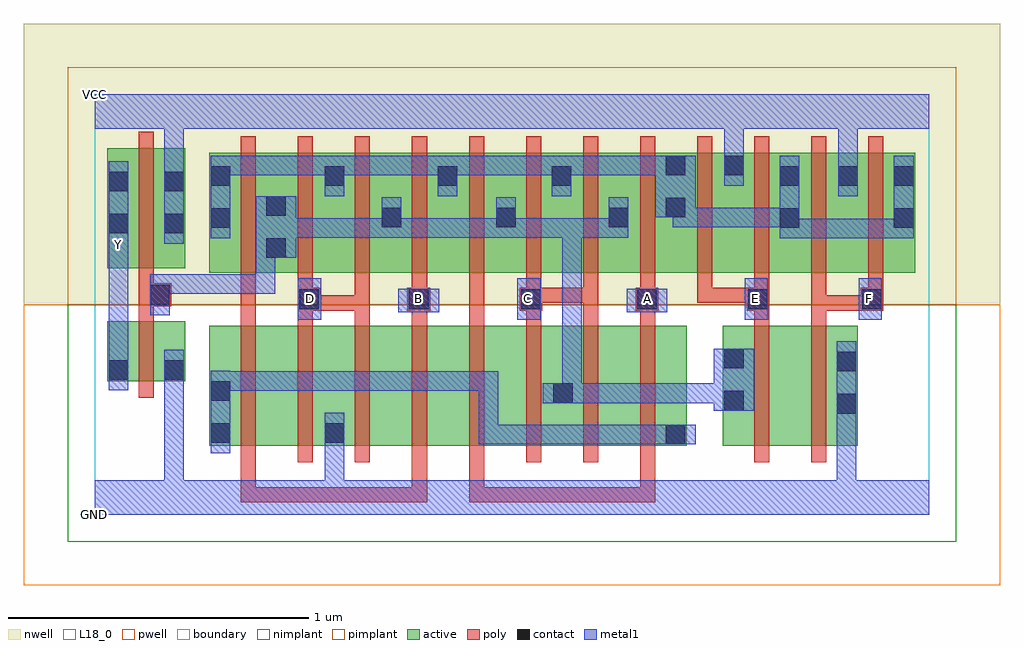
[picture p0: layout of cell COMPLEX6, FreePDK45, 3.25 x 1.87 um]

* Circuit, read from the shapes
.subckt COMPLEX6 A B C D E F GND VCC Y
M1 GND n1 Y VSUBS nfet w=0.2u l=0.05u
M2 n2 B n3 VSUBS nfet w=0.4u l=0.05u
M3 GND D n2 VSUBS nfet w=0.4u l=0.05u
M4 n4 D GND VSUBS nfet w=0.4u l=0.05u
M5 n5 B n4 VSUBS nfet w=0.4u l=0.05u
M6 n6 A n5 VSUBS nfet w=0.4u l=0.05u
M7 n1 C n6 VSUBS nfet w=0.4u l=0.05u
M8 n7 C n1 VSUBS nfet w=0.4u l=0.05u
M9 n3 A n7 VSUBS nfet w=0.4u l=0.05u
M10 n8 E n1 VSUBS nfet w=0.4u l=0.05u
M11 GND F n8 VSUBS nfet w=0.4u l=0.05u
M12 VCC n1 Y n9 pfet w=0.4u l=0.05u
M13 n1 B n10 n9 pfet w=0.4u l=0.05u m=2
M14 n10 D n1 n9 pfet w=0.4u l=0.05u m=2
M15 n1 A n10 n9 pfet w=0.4u l=0.05u m=2
M16 n10 C n1 n9 pfet w=0.4u l=0.05u m=2
M17 VCC E n10 n9 pfet w=0.4u l=0.05u m=2
M18 VCC F n10 n9 pfet w=0.4u l=0.05u m=2
.ends

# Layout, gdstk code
import gdstk
lib = gdstk.Library(unit=1e-6, precision=1e-09)
def R(c, l, rs):  # rectangles x0, y0, x1, y1
    for r in rs: c.add(gdstk.rectangle(r[:2], r[2:], *l))
def A(c, l, x, y, w, h, nx, ny, dx, dy):  # array of equal rectangles
    R(c, l, [(x+i*dx, y+j*dy, x+i*dx+w, y+j*dy+h) for i in range(nx) for j in range(ny)])
active = (1, 0)
pwell = (2, 0)
nwell = (3, 0)
nimplant = (4, 0)
pimplant = (5, 0)
poly = (9, 0)
contact = (10, 0)
metal1 = (11, 0)
L18_0 = (18, 0)
boundary = (235, 0)

complex6 = lib.new_cell('COMPLEX6')
R(complex6, active, [(0.382,0.23,0.607,0.63), (0.382,0.23,0.457,0.63), (0.607,0.23,0.837,0.63), (0.762,0.23,0.987,0.63), (0.762,0.23,0.837,0.617), (0.987,0.23,1.177,0.63), (1.177,0.23,1.367,0.63), (1.367,0.23,1.597,0.63), (1.522,0.23,1.747,0.63), (1.747,0.23,1.972,0.63), (1.897,0.23,1.972,0.63), (2.092,0.23,2.317,0.63), (2.092,0.23,2.167,0.63), (2.317,0.23,2.542,0.63), (1.522,0.245,1.597,0.617), (2.467,0.245,2.542,0.63), (0.042,0.445,0.117,0.645), (0.042,0.445,0.302,0.645), (0.227,0.445,0.302,0.645), (0.382,0.805,0.457,1.192), (0.382,0.805,0.642,1.205), (0.567,0.805,0.837,1.205), (0.567,0.805,0.642,1.07), (0.762,0.805,1.027,1.205), (0.952,0.805,1.212,1.205), (0.952,0.805,1.027,1.07), (1.137,0.805,1.407,1.205), (1.332,0.805,1.592,1.205), (1.332,0.805,1.407,1.07), (1.517,0.805,1.782,1.205), (1.707,0.805,1.972,1.205), (1.707,0.805,1.782,1.07), (1.897,0.805,2.167,1.205), (1.897,0.805,1.972,1.2), (2.092,0.805,2.352,1.205), (2.277,0.805,2.352,1.192), (2.277,0.805,2.547,1.205), (2.472,0.805,2.547,1.205), (2.472,0.805,2.732,1.205), (2.657,0.805,2.732,1.192), (0.042,0.82,0.302,1.22), (0.042,0.82,0.117,1.155), (0.227,0.82,0.302,1.22), (1.137,0.847,1.212,1.192), (0.762,0.907,0.837,1.192), (1.517,0.907,1.592,1.2), (2.092,0.907,2.167,1.205)])
R(complex6, pwell, [(-0.235,-0.235,3.015,0.7)])
R(complex6, nwell, [(-0.235,0.7,3.015,1.635)])
R(complex6, nimplant, [(-0.09,-0.09,2.87,0.7)])
R(complex6, pimplant, [(-0.09,0.7,2.87,1.49)])
A(complex6, poly, 0.487, 0.175, 0.05, 0.51, 8, 1, 0.19, 0)
A(complex6, poly, 0.677, 0.635, 0.05, 0.095, 3, 1, 0.19, 0)
A(complex6, poly, 1.437, 0.635, 0.05, 0.095, 3, 1, 0.38, 0)
A(complex6, poly, 1.057, 0.705, 0.05, 0.095, 7, 1, 0.19, 0)
A(complex6, poly, 0.487, 0.75, 0.05, 0.51, 12, 1, 0.19, 0)
R(complex6, poly, [(0.487,0.042,0.537,0.092), (0.487,0.042,0.537,0.092), (0.487,0.042,0.537,0.092), (0.487,0.042,0.537,0.225), (0.487,0.042,0.752,0.092), (0.702,0.042,0.752,0.092), (0.702,0.042,0.752,0.092), (0.702,0.042,0.752,0.092), (0.702,0.042,0.885,0.092), (0.835,0.042,0.885,0.092), (0.835,0.042,0.885,0.092), (0.835,0.042,0.885,0.092), (0.835,0.042,1.107,0.092), (1.057,0.042,1.107,0.092), (1.057,0.042,1.107,0.225), (1.247,0.042,1.297,0.092), (1.247,0.042,1.297,0.092), (1.247,0.042,1.297,0.092), (1.247,0.042,1.297,0.225), (1.247,0.042,1.545,0.092), (1.495,0.042,1.545,0.092), (1.495,0.042,1.545,0.092), (1.495,0.042,1.545,0.092), (1.495,0.042,1.72,0.092), (1.67,0.042,1.72,0.092), (1.67,0.042,1.867,0.092), (1.817,0.042,1.867,0.092), (1.817,0.042,1.867,0.092), (1.817,0.042,1.867,0.092), (1.817,0.042,1.867,0.225), (2.197,0.175,2.247,0.685), (2.387,0.175,2.437,0.685), (0.147,0.39,0.197,0.7), (0.487,0.635,0.537,0.755), (1.247,0.635,1.297,0.755), (1.627,0.635,1.677,0.755), (2.387,0.635,2.437,0.73), (0.147,0.65,0.197,0.745), (0.677,0.68,0.752,0.755), (0.702,0.68,0.752,0.73), (0.702,0.68,0.752,0.73), (0.702,0.68,0.917,0.73), (0.867,0.68,0.917,0.73), (0.867,0.68,0.917,0.8), (1.042,0.68,1.117,0.755), (1.415,0.68,1.49,0.755), (1.802,0.68,1.877,0.755), (2.172,0.68,2.247,0.755), (2.387,0.68,2.437,0.73), (2.387,0.68,2.602,0.73), (2.387,0.68,2.437,0.8), (2.552,0.68,2.602,0.73), (2.552,0.68,2.602,0.73), (2.552,0.68,2.627,0.755), (0.147,0.695,0.255,0.77), (0.487,0.705,0.537,0.8), (0.487,0.705,0.537,0.755), (0.677,0.705,0.727,0.8), (1.247,0.705,1.297,0.755), (1.44,0.705,1.49,0.755), (1.44,0.705,1.49,0.755), (1.44,0.705,1.677,0.755), (1.627,0.705,1.677,0.755), (2.007,0.705,2.057,0.755), (2.007,0.705,2.222,0.755), (2.172,0.705,2.222,0.755), (2.172,0.705,2.222,0.755), (2.577,0.705,2.627,0.8), (0.147,0.72,0.197,0.815), (0.147,0.765,0.197,1.275)])
R(complex6, contact, [(1.902,0.235,1.967,0.3), (0.387,0.24,0.452,0.305), (0.767,0.24,0.832,0.305), (2.472,0.337,2.537,0.402), (2.097,0.347,2.162,0.412), (1.527,0.372,1.592,0.437), (0.387,0.38,0.452,0.445), (0.047,0.45,0.112,0.515), (0.232,0.45,0.297,0.515), (2.472,0.477,2.537,0.542), (2.097,0.487,2.162,0.552), (0.682,0.685,0.747,0.75), (1.047,0.685,1.112,0.75), (1.42,0.685,1.485,0.75), (1.807,0.685,1.872,0.75), (2.177,0.685,2.242,0.75), (2.557,0.685,2.622,0.75), (0.185,0.7,0.25,0.765), (0.572,0.855,0.637,0.92), (0.047,0.937,0.112,1.002), (0.232,0.937,0.297,1.002), (0.387,0.955,0.452,1.02), (2.282,0.955,2.347,1.02), (2.662,0.955,2.727,1.02), (0.957,0.957,1.022,1.022), (1.337,0.957,1.402,1.022), (1.712,0.957,1.777,1.022), (1.902,0.99,1.967,1.055), (0.572,0.995,0.637,1.06), (0.047,1.077,0.112,1.142), (0.232,1.077,0.297,1.142), (0.387,1.095,0.452,1.16), (0.767,1.095,0.832,1.16), (1.142,1.095,1.207,1.16), (1.522,1.095,1.587,1.16), (2.282,1.095,2.347,1.16), (2.477,1.095,2.542,1.16), (2.662,1.095,2.727,1.16), (1.902,1.13,1.967,1.195), (2.097,1.13,2.162,1.195)])
R(complex6, metal1, [(0,0,2.78,0.115), (0.232,0.05,0.297,0.115), (0.232,0.05,0.297,0.115), (0.232,0.05,0.297,0.115), (0.232,0.05,0.297,0.115), (0.232,0.05,0.297,0.115), (0.232,0.05,0.297,0.115), (0.232,0.05,0.297,0.48), (0.767,0.05,0.832,0.27), (2.472,0.05,2.537,0.367), (0.387,0.205,0.452,0.48), (0.767,0.205,0.832,0.27), (0.767,0.205,0.832,0.27), (0.767,0.205,0.832,0.34), (1.28,0.235,1.345,0.3), (1.28,0.235,1.345,0.3), (1.28,0.235,1.345,0.3), (1.28,0.235,1.64,0.3), (1.28,0.235,1.345,0.477), (1.575,0.235,1.64,0.3), (1.575,0.235,1.64,0.3), (1.575,0.235,1.64,0.3), (1.575,0.235,1.79,0.3), (1.725,0.235,1.79,0.3), (1.725,0.235,1.79,0.3), (1.725,0.235,1.79,0.3), (1.725,0.235,1.932,0.3), (1.867,0.235,2.002,0.3), (2.472,0.302,2.537,0.577), (2.472,0.302,2.537,0.367), (2.472,0.302,2.537,0.367), (2.062,0.347,2.197,0.552), (1.492,0.372,1.627,0.437), (1.557,0.372,1.622,0.987), (1.562,0.372,1.627,0.437), (1.562,0.372,1.627,0.437), (1.562,0.372,1.795,0.437), (1.73,0.372,1.795,0.437), (1.73,0.372,1.795,0.437), (1.73,0.372,1.795,0.437), (1.73,0.372,1.99,0.437), (1.925,0.372,1.99,0.437), (1.925,0.372,1.99,0.437), (1.925,0.372,1.99,0.437), (1.925,0.372,2.127,0.437), (0.387,0.412,0.452,0.477), (0.387,0.412,0.452,0.477), (0.387,0.412,0.672,0.477), (0.607,0.412,0.672,0.477), (0.607,0.412,0.672,0.477), (0.607,0.412,0.672,0.477), (0.607,0.412,0.81,0.477), (0.745,0.412,0.81,0.477), (0.745,0.412,0.81,0.477), (0.745,0.412,0.81,0.477), (0.745,0.412,1.07,0.477), (1.005,0.412,1.07,0.477), (1.005,0.412,1.07,0.477), (1.005,0.412,1.07,0.477), (1.005,0.412,1.207,0.477), (1.142,0.412,1.207,0.477), (1.142,0.412,1.207,0.477), (1.142,0.412,1.207,0.477), (1.142,0.412,1.345,0.477), (1.28,0.412,1.345,0.477), (0.047,0.415,0.112,0.55), (0.232,0.415,0.297,0.55), (0.047,0.485,0.112,0.897), (0.677,0.65,0.755,0.787), (1.407,0.65,1.485,0.787), (2.165,0.65,2.242,0.787), (2.545,0.65,2.622,0.787), (0.185,0.665,0.25,0.8), (1.012,0.675,1.147,0.752), (1.772,0.675,1.907,0.752), (0.185,0.735,0.25,0.8), (0.185,0.735,0.25,0.8), (0.185,0.735,0.465,0.8), (0.4,0.735,0.465,0.8), (0.4,0.735,0.465,0.8), (0.4,0.735,0.465,0.8), (0.4,0.735,0.602,0.8), (0.537,0.735,0.602,0.8), (0.537,0.735,0.602,0.92), (0.047,0.832,0.112,0.967), (0.537,0.855,0.672,1.06), (0.047,0.902,0.112,1.177), (0.047,0.902,0.112,0.967), (0.232,0.902,0.297,1.177), (0.387,0.92,0.452,1.195), (2.282,0.92,2.347,1.195), (2.282,0.92,2.347,0.985), (2.282,0.92,2.347,0.985), (2.282,0.92,2.485,0.985), (2.42,0.92,2.727,0.985), (2.42,0.92,2.485,0.985), (2.42,0.92,2.485,0.985), (2.42,0.92,2.485,0.985), (2.662,0.92,2.727,1.195), (0.607,0.922,0.672,0.987), (0.607,0.922,0.672,0.987), (0.607,0.922,0.885,0.987), (0.82,0.922,0.885,0.987), (0.82,0.922,0.885,0.987), (0.82,0.922,0.885,0.987), (0.82,0.922,1.022,0.987), (0.957,0.922,1.022,0.987), (0.957,0.922,1.022,0.987), (0.957,0.922,1.022,1.057), (0.957,0.922,1.207,0.987), (1.142,0.922,1.207,0.987), (1.142,0.922,1.207,0.987), (1.142,0.922,1.207,0.987), (1.142,0.922,1.402,0.987), (1.337,0.922,1.402,0.987), (1.337,0.922,1.402,0.987), (1.337,0.922,1.402,1.057), (1.337,0.922,1.622,0.987), (1.557,0.922,1.622,0.987), (1.557,0.922,1.622,0.987), (1.557,0.922,1.622,0.987), (1.557,0.922,1.622,0.987), (1.557,0.922,1.622,0.987), (1.557,0.922,1.777,0.987), (1.712,0.922,1.777,1.057), (1.925,0.957,1.99,1.022), (1.925,0.957,1.99,1.022), (1.925,0.957,1.99,1.022), (1.925,0.957,2.21,1.022), (1.925,0.957,1.99,1.055), (2.145,0.957,2.21,1.022), (2.145,0.957,2.21,1.022), (2.145,0.957,2.21,1.022), (2.145,0.957,2.347,1.022), (1.867,0.99,2.002,1.195), (0.767,1.06,0.832,1.195), (1.142,1.06,1.207,1.195), (1.522,1.06,1.587,1.195), (2.477,1.06,2.542,1.195), (2.097,1.095,2.162,1.23), (0.232,1.112,0.297,1.35), (0.387,1.13,0.452,1.195), (0.387,1.13,0.452,1.195), (0.387,1.13,0.672,1.195), (0.607,1.13,0.672,1.195), (0.607,1.13,0.672,1.195), (0.607,1.13,0.672,1.195), (0.607,1.13,0.832,1.195), (0.767,1.13,0.832,1.195), (0.767,1.13,0.832,1.195), (0.767,1.13,1.07,1.195), (1.005,1.13,1.07,1.195), (1.005,1.13,1.07,1.195), (1.005,1.13,1.07,1.195), (1.005,1.13,1.207,1.195), (1.142,1.13,1.207,1.195), (1.142,1.13,1.207,1.195), (1.142,1.13,1.42,1.195), (1.355,1.13,1.42,1.195), (1.355,1.13,1.42,1.195), (1.355,1.13,1.42,1.195), (1.355,1.13,1.587,1.195), (1.522,1.13,1.652,1.195), (1.587,1.13,1.652,1.195), (1.587,1.13,1.777,1.195), (1.712,1.13,1.777,1.195), (1.712,1.13,1.852,1.195), (1.787,1.13,1.852,1.195), (1.787,1.13,1.932,1.195), (2.477,1.13,2.542,1.35), (2.097,1.165,2.162,1.35), (0,1.285,2.78,1.4)])
A(complex6, L18_0, 0.687, 0.687, 0.065, 0.065, 3, 1, 0.36, 0)
R(complex6, L18_0, [(0,0,2.78,0.115), (0.232,0.05,0.297,0.115), (0.232,0.05,0.297,0.115), (0.232,0.05,0.297,0.115), (0.232,0.05,0.297,0.115), (0.232,0.05,0.297,0.115), (0.232,0.05,0.297,0.115), (0.232,0.05,0.297,0.48), (0.767,0.05,0.832,0.27), (2.472,0.05,2.537,0.367), (0.767,0.205,0.832,0.34), (0.767,0.205,0.832,0.27), (0.767,0.205,0.832,0.27), (2.472,0.302,2.537,0.577), (2.472,0.302,2.537,0.367), (2.472,0.302,2.537,0.367), (0.047,0.415,0.112,0.55), (0.232,0.415,0.297,0.55), (0.047,0.485,0.112,0.897), (0.677,0.65,0.755,0.787), (1.407,0.65,1.485,0.787), (2.165,0.65,2.242,0.787), (2.545,0.65,2.622,0.787), (1.012,0.675,1.147,0.752), (1.772,0.675,1.907,0.752), (1.807,0.687,1.872,0.752), (2.167,0.687,2.232,0.752), (2.547,0.687,2.612,0.752), (0.047,0.832,0.112,0.967), (0.047,0.867,0.112,0.932), (0.047,0.902,0.112,1.177), (0.047,0.902,0.112,0.967), (0.232,0.902,0.297,1.177), (2.477,1.06,2.542,1.195), (2.097,1.095,2.162,1.23), (0.232,1.112,0.297,1.35), (2.477,1.13,2.542,1.35), (2.097,1.165,2.162,1.35), (0,1.285,2.78,1.4)])
R(complex6, boundary, [(0,0,2.78,1.4)])
complex6.add(gdstk.Label('A', (1.84,0.72), layer=11, texttype=0))
complex6.add(gdstk.Label('B', (1.08,0.72), layer=11, texttype=0))
complex6.add(gdstk.Label('C', (1.44,0.72), layer=11, texttype=0))
complex6.add(gdstk.Label('D', (0.72,0.72), layer=11, texttype=0))
complex6.add(gdstk.Label('E', (2.2,0.72), layer=11, texttype=0))
complex6.add(gdstk.Label('F', (2.58,0.72), layer=11, texttype=0))
complex6.add(gdstk.Label('Y', (0.08,0.9), layer=11, texttype=0))
complex6.add(gdstk.Label('VCC', (0,1.4), layer=11, texttype=0))
complex6.add(gdstk.Label('GND', (0,0), layer=11, texttype=0))

lib.write_gds('COMPLEX6.gds')
